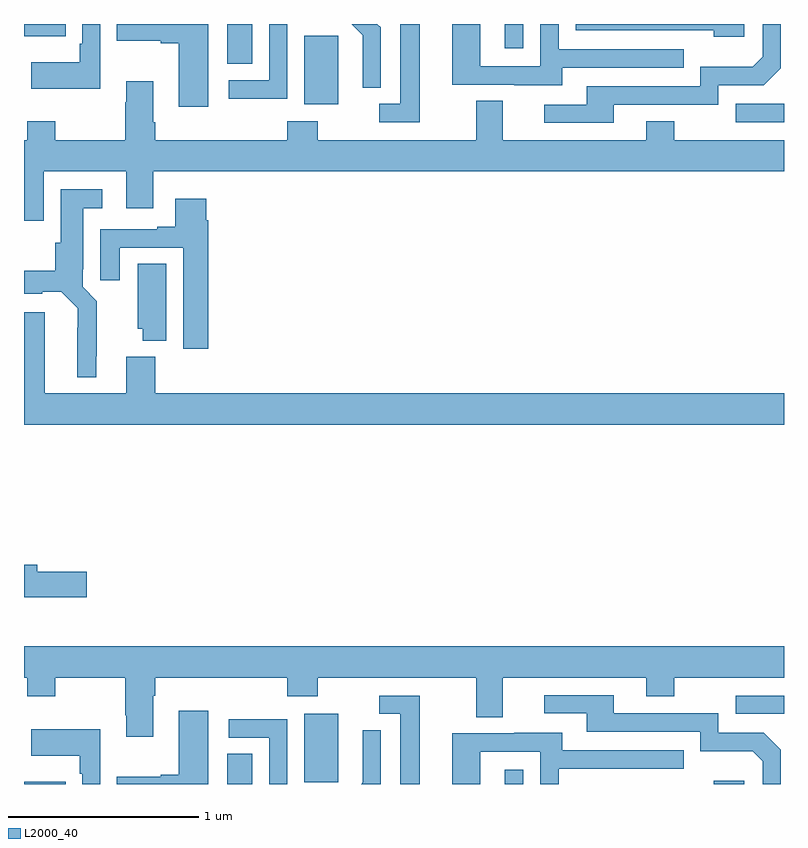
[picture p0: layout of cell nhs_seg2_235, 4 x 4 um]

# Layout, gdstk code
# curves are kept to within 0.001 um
import gdstk
lib = gdstk.Library(unit=1e-6, precision=1e-09)
def R(c, l, rs):  # rectangles x0, y0, x1, y1
    for r in rs: c.add(gdstk.rectangle(r[:2], r[2:], *l))
def P(c, l, *ps):  # polygons
    for p in ps: c.add(gdstk.Polygon(p, *l))
L2000_40 = (2000, 40)

nhs_seg2_235 = lib.new_cell('nhs_seg2_235')
R(nhs_seg2_235, L2000_40, [(123,589.8,123.221,589.813), (124.07,589.8,124.201,589.958), (125.531,589.8,125.628,589.876), (126.629,589.8,126.79,589.816), (124.475,589.809,124.654,590.17), (126.747,590.169,127,590.265), (126.747,593.283,127,593.379), (124.475,593.378,124.654,593.739), (124.07,593.59,124.201,593.8), (125.531,593.673,125.628,593.8), (123,593.735,123.221,593.8)])
P(nhs_seg2_235, L2000_40, [(124.878,593.782),(124.86,593.8),(124.724,593.8),(124.784,593.741),(124.784,593.618),(124.782,593.618),(124.782,593.464),(124.878,593.464)],
  [(123.402,593.8),(123.306,593.8),(123.306,593.695),(123.294,593.695),(123.294,593.599),(123.037,593.599),(123.037,593.459),(123.402,593.459)],
  [(123.97,593.8),(123.489,593.8),(123.489,593.711),(123.719,593.711),(123.719,593.699),(123.815,593.699),(123.815,593.364),(123.97,593.364)],
  [(125.833,593.571),(126.473,593.571),(126.473,593.667),(125.814,593.667),(125.814,593.8),(125.718,593.8),(125.718,593.577),(125.4,593.577),(125.4,593.8),(125.255,593.8),(125.255,593.481),(125.579,593.481),(125.579,593.477),(125.833,593.477)],
  [(125.083,593.8),(124.979,593.8),(124.979,593.379),(124.869,593.379),(124.869,593.283),(125.083,593.283)],
  [(124.386,593.8),(124.29,593.8),(124.29,593.505),(124.077,593.505),(124.077,593.407),(124.386,593.407)],
  [(126.79,593.8),(125.904,593.8),(125.904,593.766),(126.629,593.766),(126.629,593.732),(126.79,593.732)],
  [(126.103,593.376),(126.654,593.376),(126.654,593.478),(126.894,593.478),(126.984,593.568),(126.984,593.8),(126.888,593.8),(126.888,593.628),(126.835,593.575),(126.558,593.575),(126.558,593.472),(125.963,593.472),(125.963,593.376),(125.739,593.376),(125.739,593.28),(126.103,593.28)],
  [(123.105,593.024),(123.539,593.024),(123.539,592.83),(123.679,592.83),(123.679,593.024),(127,593.024),(127,593.188),(126.423,593.188),(126.423,593.287),(126.275,593.287),(126.275,593.188),(125.521,593.188),(125.521,593.396),(125.381,593.396),(125.381,593.188),(124.545,593.188),(124.545,593.287),(124.385,593.287),(124.385,593.188),(123.692,593.188),(123.692,593.284),(123.679,593.284),(123.679,593.5),(123.539,593.5),(123.539,593.387),(123.532,593.387),(123.532,593.188),(123.165,593.188),(123.165,593.287),(123.018,593.287),(123.018,593.188),(123,593.188),(123,592.764),(123.105,592.764)],
  [(123.379,592.051),(123.383,592.051),(123.383,592.342),(123.309,592.416),(123.309,592.51),(123.313,592.51),(123.313,592.829),(123.412,592.829),(123.412,592.93),(123.194,592.93),(123.194,592.65),(123.164,592.65),(123.164,592.501),(123,592.501),(123,592.379),(123.096,592.379),(123.096,592.391),(123.195,592.391),(123.282,592.304),(123.281,591.941),(123.379,591.941)],
  [(123.971,592.766),(123.958,592.766),(123.958,592.879),(123.797,592.879),(123.797,592.732),(123.701,592.732),(123.701,592.719),(123.401,592.719),(123.401,592.452),(123.505,592.452),(123.505,592.623),(123.839,592.623),(123.839,592.092),(123.971,592.092)],
  [(123.748,592.538),(123.599,592.538),(123.599,592.197),(123.626,592.197),(123.626,592.133),(123.748,592.133)],
  [(127,591.856),(123.692,591.856),(123.692,592.048),(123.539,592.048),(123.539,591.856),(123.109,591.856),(123.109,592.282),(123,592.282),(123,591.692),(127,591.692)],
  [(123.331,590.918),(123.07,590.918),(123.07,590.954),(123,590.954),(123,590.783),(123.331,590.783)],
  [(123.679,590.264),(123.692,590.264),(123.692,590.36),(124.385,590.36),(124.385,590.261),(124.545,590.261),(124.545,590.36),(125.381,590.36),(125.381,590.152),(125.521,590.152),(125.521,590.36),(126.275,590.36),(126.275,590.261),(126.423,590.261),(126.423,590.36),(127,590.36),(127,590.524),(123,590.524),(123,590.36),(123.018,590.36),(123.018,590.261),(123.165,590.261),(123.165,590.36),(123.532,590.36),(123.532,590.161),(123.539,590.161),(123.539,590.049),(123.679,590.049)],
  [(126.984,589.98),(126.894,590.07),(126.654,590.07),(126.654,590.172),(126.103,590.172),(126.103,590.268),(125.739,590.268),(125.739,590.172),(125.963,590.172),(125.963,590.076),(126.558,590.076),(126.558,589.973),(126.835,589.973),(126.888,589.92),(126.888,589.8),(126.984,589.8)],
  [(125.083,590.265),(124.869,590.265),(124.869,590.169),(124.979,590.169),(124.979,589.8),(125.083,589.8)],
  [(123.97,590.185),(123.815,590.185),(123.815,589.85),(123.719,589.85),(123.719,589.837),(123.489,589.837),(123.489,589.8),(123.97,589.8)],
  [(124.386,590.142),(124.077,590.142),(124.077,590.043),(124.29,590.043),(124.29,589.8),(124.386,589.8)],
  [(123.402,590.089),(123.037,590.089),(123.037,589.949),(123.294,589.949),(123.294,589.853),(123.306,589.853),(123.306,589.8),(123.402,589.8)],
  [(124.878,590.084),(124.782,590.084),(124.782,589.93),(124.784,589.93),(124.784,589.808),(124.776,589.8),(124.878,589.8)],
  [(125.4,589.971),(125.718,589.971),(125.718,589.8),(125.814,589.8),(125.814,589.881),(126.473,589.881),(126.473,589.977),(125.833,589.977),(125.833,590.071),(125.579,590.071),(125.579,590.067),(125.255,590.067),(125.255,589.8),(125.4,589.8)])

lib.write_gds('nhs_seg2_235.gds')
